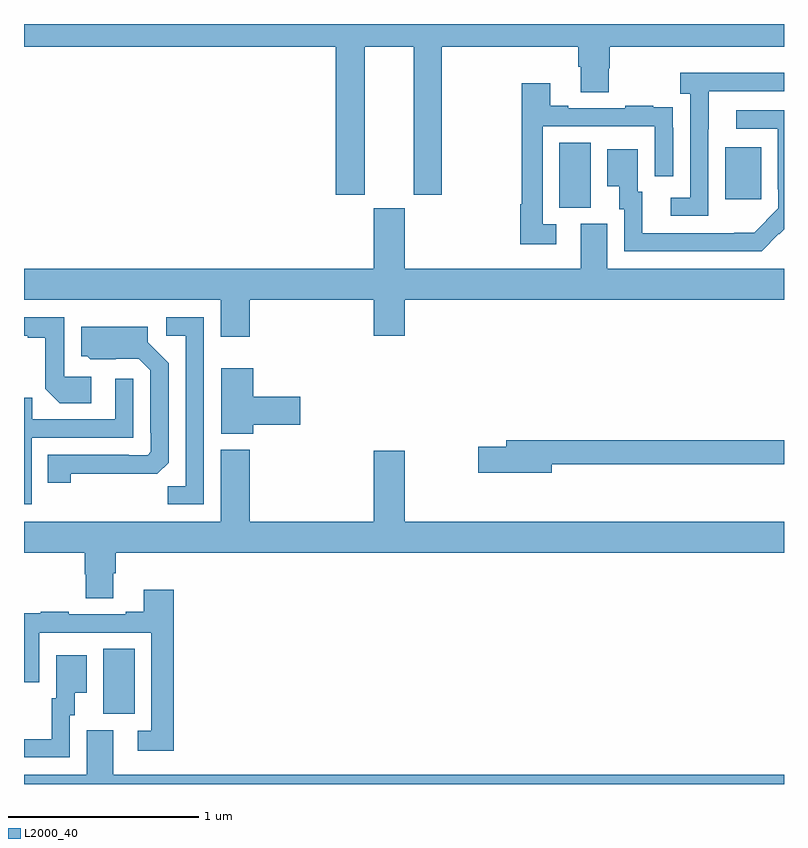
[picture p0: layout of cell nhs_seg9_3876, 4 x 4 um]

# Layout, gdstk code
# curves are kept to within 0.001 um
import gdstk
lib = gdstk.Library(unit=1e-6, precision=1e-09)
def R(c, l, rs):  # rectangles x0, y0, x1, y1
    for r in rs: c.add(gdstk.rectangle(r[:2], r[2:], *l))
def P(c, l, *ps):  # polygons
    for p in ps: c.add(gdstk.Polygon(p, *l))
L2000_40 = (2000, 40)

nhs_seg9_3876 = lib.new_cell('nhs_seg9_3876')
R(nhs_seg9_3876, L2000_40, [(331.418,1232.869,331.582,1233.212), (333.818,1235.533,333.982,1235.876), (334.691,1235.577,334.879,1235.851)])
P(nhs_seg9_3876, L2000_40, [(332.794,1236.38),(333.05,1236.38),(333.05,1235.601),(333.198,1235.601),(333.198,1236.38),(333.917,1236.38),(333.917,1236.274),(333.929,1236.274),(333.929,1236.142),(334.077,1236.142),(334.077,1236.267),(334.082,1236.267),(334.082,1236.38),(335,1236.38),(335,1236.5),(331,1236.5),(331,1236.38),(332.642,1236.38),(332.642,1235.601),(332.794,1235.601)],
  [(334.602,1235.947),(334.603,1235.947),(334.603,1236.147),(335,1236.147),(335,1236.244),(334.455,1236.244),(334.455,1236.134),(334.506,1236.134),(334.506,1235.586),(334.404,1235.586),(334.404,1235.49),(334.602,1235.49)],
  [(333.802,1235.445),(333.729,1235.445),(333.729,1235.961),(334.32,1235.961),(334.32,1235.7),(334.416,1235.7),(334.416,1235.954),(334.415,1235.954),(334.415,1236.063),(334.313,1236.063),(334.313,1236.07),(334.165,1236.07),(334.165,1236.057),(333.865,1236.057),(333.865,1236.07),(333.769,1236.07),(333.769,1236.187),(333.621,1236.187),(333.621,1235.552),(333.613,1235.552),(333.613,1235.34),(333.802,1235.34)],
  [(334.973,1235.395),(334.974,1235.394),(335,1235.42),(335,1236.045),(334.749,1236.045),(334.749,1235.949),(334.968,1235.949),(334.968,1235.629),(334.971,1235.629),(334.971,1235.529),(334.843,1235.401),(334.255,1235.4),(334.255,1235.616),(334.231,1235.616),(334.231,1235.842),(334.07,1235.842),(334.07,1235.645),(334.133,1235.645),(334.133,1235.526),(334.158,1235.526),(334.158,1235.304),(334.882,1235.304)],
  [(332.189,1235.048),(332.84,1235.048),(332.84,1234.86),(333.004,1234.86),(333.004,1235.048),(335,1235.048),(335,1235.212),(334.069,1235.212),(334.069,1235.448),(333.929,1235.448),(333.929,1235.212),(333.004,1235.212),(333.004,1235.529),(332.84,1235.529),(332.84,1235.212),(331,1235.212),(331,1235.048),(332.036,1235.048),(332.036,1234.854),(332.189,1234.854)],
  [(331.947,1234.956),(331.749,1234.956),(331.749,1234.86),(331.851,1234.86),(331.851,1234.067),(331.756,1234.067),(331.756,1233.972),(331.947,1233.972)],
  [(331.354,1234.644),(331.212,1234.644),(331.212,1234.956),(331,1234.956),(331,1234.86),(331.019,1234.86),(331.019,1234.848),(331.113,1234.848),(331.113,1234.58),(331.189,1234.504),(331.354,1234.504)],
  [(331.245,1234.132),(331.702,1234.133),(331.761,1234.192),(331.761,1234.714),(331.651,1234.824),(331.651,1234.906),(331.301,1234.906),(331.301,1234.752),(331.332,1234.752),(331.348,1234.736),(331.605,1234.737),(331.665,1234.677),(331.665,1234.348),(331.668,1234.348),(331.668,1234.248),(331.65,1234.23),(331.55,1234.23),(331.55,1234.233),(331.126,1234.233),(331.126,1234.086),(331.245,1234.086)],
  [(332.206,1234.391),(332.455,1234.391),(332.455,1234.538),(332.206,1234.538),(332.206,1234.687),(332.039,1234.687),(332.039,1234.343),(332.206,1234.343)],
  [(331.041,1234.323),(331.575,1234.323),(331.575,1234.633),(331.479,1234.633),(331.479,1234.419),(331.043,1234.419),(331.043,1234.532),(331,1234.532),(331,1233.972),(331.041,1233.972)],
  [(333.778,1234.182),(335,1234.182),(335,1234.31),(333.539,1234.31),(333.539,1234.274),(333.39,1234.274),(333.39,1234.139),(333.778,1234.139)],
  [(331.471,1233.61),(331.484,1233.61),(331.484,1233.716),(335,1233.716),(335,1233.88),(333.004,1233.88),(333.004,1234.255),(332.84,1234.255),(332.84,1233.88),(332.189,1233.88),(332.189,1234.258),(332.036,1234.258),(332.036,1233.88),(331,1233.88),(331,1233.716),(331.319,1233.716),(331.319,1233.603),(331.324,1233.603),(331.324,1233.478),(331.471,1233.478)],
  [(331.787,1233.523),(331.631,1233.523),(331.631,1233.406),(331.535,1233.406),(331.535,1233.393),(331.235,1233.393),(331.235,1233.406),(331.087,1233.406),(331.087,1233.399),(331,1233.399),(331,1233.036),(331.08,1233.036),(331.08,1233.297),(331.671,1233.297),(331.671,1232.781),(331.599,1232.781),(331.599,1232.676),(331.787,1232.676)],
  [(331.242,1232.862),(331.267,1232.862),(331.267,1232.981),(331.33,1232.981),(331.33,1233.178),(331.169,1233.178),(331.169,1232.952),(331.145,1232.952),(331.145,1232.736),(331,1232.736),(331,1232.64),(331.242,1232.64)],
  [(335,1232.548),(331.471,1232.548),(331.471,1232.784),(331.331,1232.784),(331.331,1232.548),(331,1232.548),(331,1232.5),(335,1232.5)])

lib.write_gds('nhs_seg9_3876.gds')
